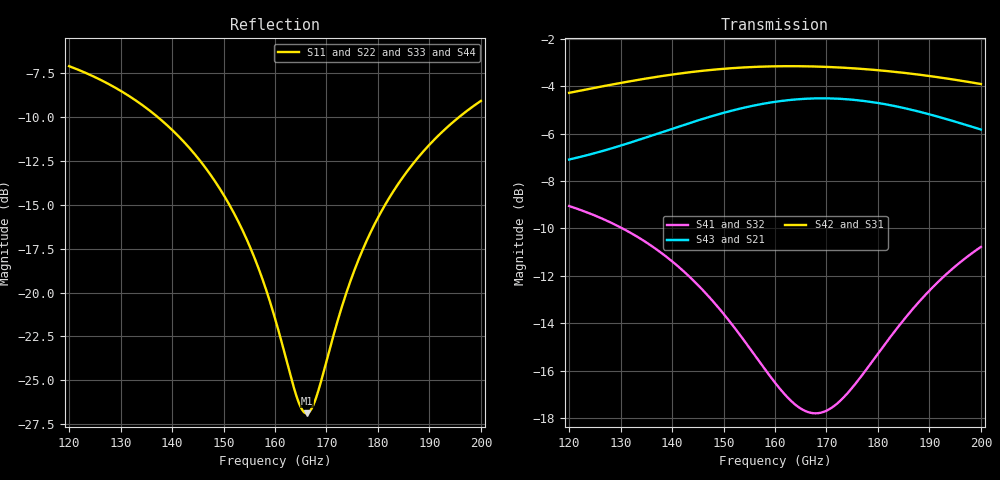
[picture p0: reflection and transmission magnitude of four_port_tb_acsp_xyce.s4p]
[Version] 2.0
# Hz S RI R 50
[Number of Ports] 4
[Reference] 50 50 50 50
!  Freq  ReS11  ImS11  ReS12  ImS12  ReS13  ImS13  ReS14  ImS14  ReS21  ImS21  ReS22  ImS22  ReS23  ImS23  ReS24  ImS24  ReS31  ImS31  ReS32  ImS32  ReS33  ImS33  ReS34  ImS34  ReS41  ImS41  ReS42  ImS42  ReS43  ImS43  ReS44  ImS44
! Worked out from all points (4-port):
!   1001 points, 120 GHz to 200 GHz, reference 50 ohm
!   strongest paths, dB at 120 GHz, 140 GHz, 160 GHz, 180 GHz, 200 GHz:
!     S42: -4.3, -3.5, -3.2, -3.3, -3.9
!     S31: -4.3, -3.5, -3.2, -3.3, -3.9
!     S43: -7.1, -5.8, -4.7, -4.7, -5.8
!     S21: -7.1, -5.8, -4.7, -4.7, -5.8
!     S41: -9.1, -11.4, -16.5, -15.3, -10.8
!     S32: -9.0, -11.4, -16.5, -15.3, -10.8
!   lowest |S11| = -26.9 dB at 166.2 GHz (marker M1), VSWR 1.09, Z = 54.7 - j0.664 ohm
!   |S11| at or under -10 dB: 137.3 GHz to 195.7 GHz (58.47 GHz wide, 35.1 % of centre)
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[Number of Frequencies] 7
[Network Data]
1.2e11  -0.2644 0.3544  0.211 -0.3883  -0.3303 -0.5141  -0.0314 -0.3512
        0.211 -0.3883  -0.2646 0.354  -0.0313 -0.3515  -0.3303 -0.5141
        -0.3303 -0.5141  -0.0313 -0.3515  -0.2647 0.3538  0.211 -0.3884
        -0.0314 -0.3512  -0.3303 -0.5141  0.211 -0.3884  -0.2645 0.3542
1.3576e11  -0.1063 0.3117  0.1781 -0.4621  -0.524 -0.3966  -0.0976 -0.275
           0.1781 -0.4621  -0.1065 0.3113  -0.0977 -0.2753  -0.524 -0.3966
           -0.524 -0.3966  -0.0977 -0.2753  -0.1067 0.3112  0.1781 -0.4622
           -0.0976 -0.275  -0.524 -0.3966  0.1781 -0.4622  -0.1064 0.3115
1.4792e11  -0.00346 0.212  0.1124 -0.5346  -0.6413 -0.2367  -0.1036 -0.1965
           0.1124 -0.5346  -0.00366 0.2115  -0.1038 -0.1968  -0.6414 -0.2366
           -0.6413 -0.2367  -0.1038 -0.1968  -0.00389 0.2115  0.1123 -0.5347
           -0.1036 -0.1965  -0.6414 -0.2366  0.1123 -0.5347  -0.00363 0.2118
1.56e11  0.0367 0.1203  0.0408 -0.5733  -0.6851 -0.1047  -0.0781 -0.1524
         0.0408 -0.5733  0.0365 0.1198  -0.0784 -0.1526  -0.6852 -0.1046
         -0.6851 -0.1047  -0.0784 -0.1526  0.0363 0.1199  0.0408 -0.5734
         -0.0781 -0.1524  -0.6852 -0.1046  0.0408 -0.5734  0.0365 0.1201
1.6616e11  0.0448 -0.00606  -0.0717 -0.5896  -0.6914 0.072  -0.0224 -0.128
           -0.0717 -0.5896  0.0446 -0.00659  -0.0228 -0.128  -0.6913 0.0721
           -0.6914 0.072  -0.0228 -0.128  0.0444 -0.00644  -0.0717 -0.5896
           -0.0224 -0.128  -0.6913 0.0721  -0.0717 -0.5896  0.0446 -0.00621
1.8072e11  -0.0228 -0.1694  -0.2259 -0.5341  -0.6086 0.3056  0.0512 -0.1688
           -0.2259 -0.5341  -0.0231 -0.1699  0.0508 -0.1686  -0.6085 0.3057
           -0.6086 0.3056  0.0508 -0.1686  -0.0231 -0.1697  -0.2259 -0.5341
           0.0512 -0.1688  -0.6085 0.3057  -0.2259 -0.5341  -0.023 -0.1695
2e11  -0.2045 -0.2865  -0.3289 -0.3916  -0.3848 0.5088  0.0455 -0.2855
      -0.3289 -0.3916  -0.2048 -0.287  0.0454 -0.2851  -0.3847 0.5088
      -0.3848 0.5088  0.0454 -0.2851  -0.2047 -0.2868  -0.3289 -0.3916
      0.0455 -0.2855  -0.3847 0.5088  -0.3289 -0.3916  -0.2048 -0.2865
[End]
